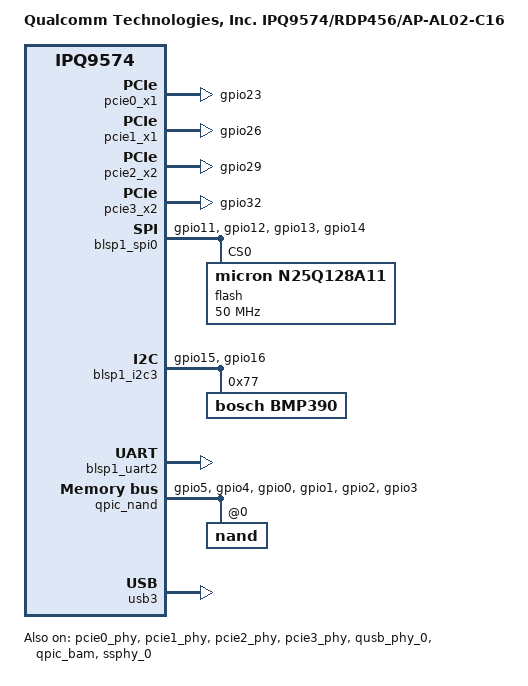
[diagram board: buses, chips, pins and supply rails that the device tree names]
// SPDX-License-Identifier: (GPL-2.0+ OR BSD-3-Clause)
/*
 * IPQ9574 RDP456 board device tree source
 *
 * Copyright (c) 2020-2021 The Linux Foundation. All rights reserved.
 * Copyright (c) 2022-2023 Qualcomm Innovation Center, Inc. All rights reserved.
 */

/dts-v1/;

#include <dt-bindings/gpio/gpio.h>
#include "ipq9574.dtsi"

/ {
	model = "Qualcomm Technologies, Inc. IPQ9574/RDP456/AP-AL02-C16";
	compatible = "qcom,ipq9574-ap-al02-c16", "qcom,ipq9574-rdp456", "qcom,ipq9574";

	aliases {
		serial0 = &blsp1_uart2;
	};

	chosen {
		stdout-path = "serial0:115200n8";
	};
};

&pcie0_x1 {
	pinctrl-0 = <&pci0_pin>;
	pinctrl-names = "default";
	perst-gpio = <&tlmm 23 GPIO_ACTIVE_LOW>;
	status = "okay";

	pcie0_rp {
		reg = <0 0 0 0 0>;
	};
};

&pcie0_phy {
	status = "okay";
};

&pcie1_x1 {
	pinctrl-0 = <&pci1_pin>;
	pinctrl-names = "default";
	perst-gpio = <&tlmm 26 GPIO_ACTIVE_LOW>;
	status = "okay";

	pcie1_rp {
		reg = <0 0 0 0 0>;
	};
};

&pcie1_phy {
	status = "okay";
};

&pcie2_x2 {
	pinctrl-0 = <&pci2_pin>;
	pinctrl-names = "default";
	perst-gpio = <&tlmm 29 GPIO_ACTIVE_LOW>;
	status = "okay";

	pcie2_rp {
		reg = <0 0 0 0 0>;
	};
};

&pcie2_phy {
	status = "okay";
};

&pcie3_x2 {
	pinctrl-0 = <&pci3_pin>;
	pinctrl-names = "default";
	perst-gpio = <&tlmm 32 GPIO_ACTIVE_LOW>;
	status = "okay";

	pcie3_rp {
		reg = <0 0 0 0 0>;
	};
};

&pcie3_phy {
	status = "okay";
};

&qusb_phy_0 {
	status = "okay";
};

&blsp1_spi0 { /* BLSP1 QUP0 */
	pinctrl-0 = <&spi_0_pins>;
	pinctrl-names = "default";
	cs-select = <0>;
	status = "okay";

	flash@0 {
		compatible = "micron,n25q128a11", "jedec,spi-nor";
		reg = <0>;
		#address-cells = <1>;
		#size-cells = <1>;
		spi-max-frequency = <50000000>;
	};
};

&blsp1_i2c3 {
	pinctrl-0 = <&i2c_3_pins>;
	pinctrl-names = "default";
	status = "okay";

	bmp390@77 {
		compatible = "bosch,bmp390";
		reg = <0x77>;
	};
};

&blsp1_uart2 {
	pinctrl-0 = <&uart2_pins>;
	pinctrl-names = "default";
	status = "okay";
};

&qpic_bam {
	status = "okay";
};

&qpic_nand {
	pinctrl-0 = <&qspi_nand_pins>;
	pinctrl-names = "default";
	qcom,io_macro_max_clk = <320000000>;
	qcom,io_macro_clk_rates = <24000000 100000000 200000000 \
				   320000000>;
	status = "okay";

	nand@0 {
		reg = <0>;
		#address-cells = <1>;
		#size-cells = <1>;
		nand-ecc-strength = <4>;
		nand-ecc-step-size = <512>;
		nand-bus-width = <8>;
	};
};

&sleep_clk {
	clock-frequency = <32000>;
};

&ssphy_0 {
	status = "okay";
};

&rpm_requests {
	regulators {
		compatible = "qcom,rpm-mp5496-regulators";

		ipq9574_s1: s1 {
		 /*
		 * During kernel bootup, the SoC runs at 800MHz with 875mV set by the bootloaders.
		 * During regulator registration, kernel not knowing the initial voltage,
		 * considers it as zero and brings up the regulators with minimum supported voltage.
		 * Updating the regulator-min-microvolt with SVS voltage of 725000uV so that
		 * the regulators are brought up with 725000uV which is sufficient for all the
		 * corner parts to operate at 800MHz
		 */
			regulator-min-microvolt = <725000>;
			regulator-max-microvolt = <1075000>;
		};
	};
};

&tlmm {
	pci0_pin: pci0-default-state {
		pins = "gpio23";
		function = "gpio";
		drive-strength = <8>;
		bias-pull-up;
		output-low;
	};

	pci1_pin: pci1-default-state {
		pins = "gpio26";
		function = "gpio";
		drive-strength = <8>;
		bias-pull-down;
		output-low;
	};

	pci2_pin: pci2-default-state {
		pins = "gpio29";
		function = "gpio";
		drive-strength = <8>;
		bias-pull-down;
		output-low;
	};

	pci3_pin: pci3-default-state {
		pins = "gpio32";
		function = "gpio";
		drive-strength = <8>;
		bias-pull-up;
		output-low;
	};

	i2c_3_pins: i2c-3-pins {
		pins = "gpio15", "gpio16";
		function = "blsp3_i2c";
		drive-strength = <8>;
		bias-disable;
	};

	spi_0_pins: spi-0-pins {
		pins = "gpio11", "gpio12", "gpio13", "gpio14";
		function = "blsp0_spi";
		drive-strength = <8>;
		bias-disable;
	};

	qspi_nand_pins: qspi_nand_pins {
		qspi_clock {
			pins = "gpio5";
			function = "qspi_clk";
			drive-strength = <8>;
			bias-disable;
		};

		qspi_cs {
			pins = "gpio4";
			function = "qspi_cs";
			drive-strength = <8>;
			bias-disable;
		};

		qspi_data {
			pins = "gpio0", "gpio1", "gpio2", "gpio3";
			function = "qspi_data";
			drive-strength = <8>;
			bias-disable;
		};
	};
};

&usb3 {
	status = "okay";
};

&xo_board_clk {
	clock-frequency = <24000000>;
};
